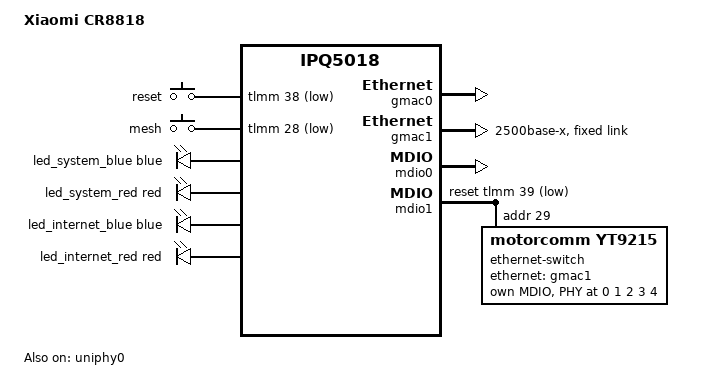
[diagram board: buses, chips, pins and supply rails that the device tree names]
/dts-v1/;

#include "ipq5018-xiaomi-base.dtsi"
#include "ipq5018-qcn6122.dtsi"

/ {
	model = "Xiaomi CR8818";
	compatible = "xiaomi,cr8818", "qcom,ipq5018";

	aliases {
		label-mac-device = &gmac0;
		led-boot = &led_system_blue;
		led-failsafe = &led_system_red;
		led-running = &led_system_blue;
		led-upgrade = &led_system_red;
	};

	keys {
		compatible = "gpio-keys";

		pinctrl-0 = <&button_pins>;
		pinctrl-names = "default";

		reset-button {
			label = "reset";
			gpios = <&tlmm 38 GPIO_ACTIVE_LOW>;
			linux,code = <KEY_RESTART>;
		};

		mesh-button {
			label = "mesh";
			gpios = <&tlmm 28 GPIO_ACTIVE_LOW>;
			linux,code = <BTN_0>;
		};
	};

	leds {
		compatible = "gpio-leds";

		pinctrl-0 = <&leds_pins>;
		pinctrl-names = "default";

		led_system_blue: system-blue {
			color = <LED_COLOR_ID_BLUE>;
			function = LED_FUNCTION_POWER;
			gpio = <&tlmm 24 GPIO_ACTIVE_HIGH>;
		};

		led_system_red: system-red {
			color = <LED_COLOR_ID_RED>;
			function = LED_FUNCTION_POWER;
			gpio = <&tlmm 25 GPIO_ACTIVE_HIGH>;
		};

		led_internet_blue: internet-blue {
			color = <LED_COLOR_ID_BLUE>;
			function = LED_FUNCTION_WAN;
			gpio = <&tlmm 26 GPIO_ACTIVE_HIGH>;
		};

		led_internet_red: internet-red {
			color = <LED_COLOR_ID_RED>;
			function = LED_FUNCTION_WAN;
			gpio = <&tlmm 27 GPIO_ACTIVE_HIGH>;
		};
	};
};

&art {
	nvmem-layout {
		compatible = "fixed-layout";
		#address-cells = <1>;
		#size-cells = <1>;

		mac_addr_gmac0: macaddr@0 {
			reg = <0x0 0x6>;
		};

		mac_addr_gmac1: macaddr@6 {
			reg = <0x6 0x6>;
		};
	};
};

/*
* ===============================================================
*     _______________________             _____________________
*    |        IPQ5018        |           |        YT9215       |
*    | +------+   +--------+ |           | +------+   +------+ |
*    | | MAC0 |---| GE Phy |-+--- MDI ---+ | Phy4 |---| Phy0 | |
*    | +------+   +--------+ |           | +------+   | Phy1 | |
*    | +------+   +--------+ |           | +------+   | Phy2 | |
*    | | MAC1 |---| Uniphy |-+-- SGMII+--+ | Phy8 |---| Phy3 | |
*    | +------+   +--------+ |           | +------+   +------+ |
*    |_______________________|           |_____________________|
*
* ===============================================================
*/

&uniphy0 {
	status = "okay";

	assigned-clocks = <&uniphy0 UNIPHY_CLK_REF>;
	assigned-clock-rates = <UNIPHY_REFCLK_50MHZ>;
};

// MAC0 -> GE Phy
&gmac0 {
	status = "okay";

	label = "wan";

	nvmem-cells = <&mac_addr_gmac0 0>;
	nvmem-cell-names = "mac-address";
};

// MAC1 --- SGMII+ ---> YT9215 Phy8
&gmac1 {
	status = "okay";

	phy-mode = "2500base-x";

	nvmem-cells = <&mac_addr_gmac1 0>;
	nvmem-cell-names = "mac-address";

	fixed-link {
		speed = <2500>;
		full-duplex;
		pause;
		asym-pause;
	};
};

&mdio0 {
	status = "okay";
};

// IPQ5018 GE Phy -> YT9215 Phy4
&ge_phy {
	qcom,dac-preset-short-cable;
};

&mdio1 {
	status = "okay";

	pinctrl-0 = <&mdio1_pins>;
	pinctrl-names = "default";
	reset-gpios = <&tlmm 39 GPIO_ACTIVE_LOW>;

	// YT9215 switch
	ethernet-switch@1d {
		compatible = "motorcomm,yt9215";
		reg = <0x1d>;

		mdio {
			#address-cells = <1>;
			#size-cells = <0>;

			sw_phy0: phy@0 {
				reg = <0x0>;
			};

			sw_phy1: phy@1 {
				reg = <0x1>;
			};

			sw_phy2: phy@2 {
				reg = <0x2>;
			};

			sw_phy3: phy@3 {
				reg = <0x3>;
			};

			sw_phy4: phy@4 {
				reg = <0x4>;
			};
		};

		ethernet-ports {
			ethernet-port@0 {
				reg = <0>;
				label = "lan1";
				phy-mode = "internal";
				phy-handle = <&sw_phy0>;
			};

			ethernet-port@1 {
				reg = <1>;
				label = "lan2";
				phy-mode = "internal";
				phy-handle = <&sw_phy1>;
			};

			ethernet-port@2 {
				reg = <2>;
				label = "lan3";
				phy-mode = "internal";
				phy-handle = <&sw_phy2>;
			};

			ethernet-port@3 {
				reg = <3>;
				label = "sw-wan";
				phy-mode = "internal";
				phy-handle = <&sw_phy3>;
			};

			ethernet-port@4 {
				reg = <4>;
				label = "sw-cpu";
				phy-mode = "internal";
				phy-handle = <&sw_phy4>;
			};

			ethernet-port@8 {
				reg = <8>;
				phy-mode = "2500base-x";
				ethernet = <&gmac1>;

				fixed-link {
					speed = <2500>;
					full-duplex;
					pause;
					asym-pause;
				};
			};
		};
	};
};

&tlmm {
	button_pins: button-state {
		pins = "gpio38", "gpio28";
		function = "gpio";
		drive-strength = <8>;
		bias-pull-up;
	};

	leds_pins: leds-state {
		pins = "gpio24", "gpio25", "gpio26", "gpio27";
		function = "gpio";
		drive-strength = <8>;
		bias-pull-down;
	};
};

/*
 * ath11k Wi-Fi consumes too large memory spaces and too few spaces are
 * available for users. To prevent OOM when using LuCI or other softwares,
 * disable Wi-Fi related peripherals at the moment.
 */
&wifi {
	status = "disabled";

	qcom,rproc = <&q6_wcss_pd1>;
	qcom,ath11k-calibration-variant = "Xiaomi-CR8818";
	qcom,ath11k-fw-memory-mode = <1>;
	qcom,bdf-addr = <0x4c400000>;
};

&wifi1 {
	status = "disabled";

	qcom,rproc = <&q6_wcss_pd2>;
	qcom,userpd-subsys-name = "q6v5_wcss_userpd2";
	qcom,ath11k-calibration-variant = "Xiaomi-CR8818";
	qcom,ath11k-fw-memory-mode = <1>;
	qcom,bdf-addr = <0x4d100000>;
	qcom,m3-dump-addr = <0x4df00000>;
};
